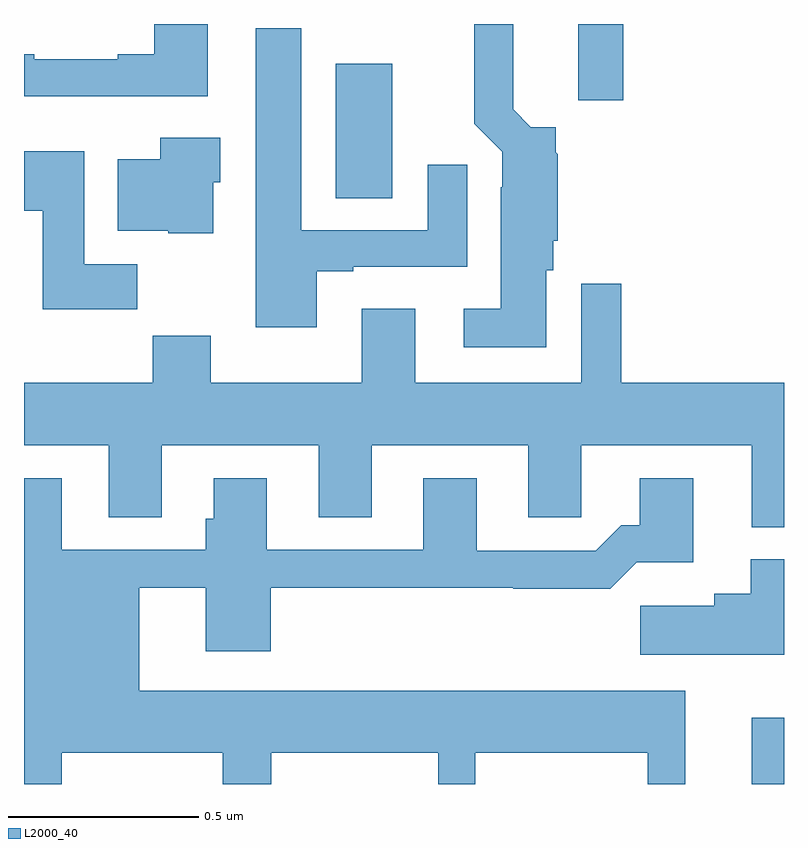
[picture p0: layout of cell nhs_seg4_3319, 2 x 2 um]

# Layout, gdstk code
import gdstk
lib = gdstk.Library(unit=1e-6, precision=1e-09)
def R(c, l, rs):  # rectangles x0, y0, x1, y1
    for r in rs: c.add(gdstk.rectangle(r[:2], r[2:], *l))
def P(c, l, *ps):  # polygons
    for p in ps: c.add(gdstk.Polygon(p, *l))
L2000_40 = (2000, 40)

nhs_seg4_3319 = lib.new_cell('nhs_seg4_3319')
R(nhs_seg4_3319, L2000_40, [(152.915,823.9,153,824.074), (151.82,825.442,151.969,825.796), (152.459,825.699,152.577,825.9)])
P(nhs_seg4_3319, L2000_40, [(151.483,825.9),(151.343,825.9),(151.343,825.82),(151.247,825.82),(151.247,825.807),(151.027,825.807),(151.027,825.82),(151,825.82),(151,825.71),(151.483,825.71)],
  [(152.374,825.252),(152.393,825.252),(152.393,825.33),(152.405,825.33),(152.405,825.557),(152.399,825.563),(152.399,825.628),(152.334,825.628),(152.287,825.676),(152.287,825.9),(152.185,825.9),(152.185,825.638),(152.259,825.564),(152.259,825.47),(152.255,825.47),(152.255,825.151),(152.157,825.151),(152.157,825.05),(152.374,825.05)],
  [(151.771,825.249),(151.867,825.249),(151.867,825.261),(152.167,825.261),(152.167,825.529),(152.063,825.529),(152.063,825.357),(151.729,825.357),(151.729,825.889),(151.61,825.889),(151.61,825.102),(151.771,825.102)],
  [(151.498,825.483),(151.516,825.483),(151.516,825.601),(151.358,825.601),(151.358,825.544),(151.247,825.544),(151.247,825.356),(151.38,825.356),(151.38,825.35),(151.498,825.35)],
  [(151.298,825.268),(151.159,825.268),(151.159,825.565),(151,825.565),(151,825.409),(151.049,825.409),(151.049,825.15),(151.298,825.15)],
  [(153,824.956),(152.572,824.956),(152.572,825.217),(152.466,825.217),(152.466,824.956),(152.029,824.956),(152.029,825.151),(151.889,825.151),(151.889,824.956),(151.491,824.956),(151.491,825.08),(151.339,825.08),(151.339,824.956),(151,824.956),(151,824.792),(151.223,824.792),(151.223,824.602),(151.363,824.602),(151.363,824.792),(151.775,824.792),(151.775,824.602),(151.915,824.602),(151.915,824.792),(152.327,824.792),(152.327,824.602),(152.466,824.602),(152.466,824.792),(152.915,824.792),(152.915,824.576),(153,824.576)],
  [(151.099,823.982),(151.523,823.982),(151.523,823.9),(151.651,823.9),(151.651,823.982),(152.09,823.982),(152.09,823.9),(152.188,823.9),(152.188,823.982),(152.642,823.982),(152.642,823.9),(152.74,823.9),(152.74,824.146),(151.303,824.146),(151.303,824.416),(151.478,824.416),(151.478,824.25),(151.649,824.25),(151.649,824.416),(152.287,824.416),(152.287,824.414),(152.543,824.414),(152.612,824.483),(152.761,824.483),(152.761,824.704),(152.621,824.704),(152.621,824.581),(152.572,824.581),(152.505,824.514),(152.191,824.514),(152.191,824.704),(152.051,824.704),(152.051,824.517),(151.639,824.517),(151.639,824.704),(151.499,824.704),(151.499,824.598),(151.478,824.598),(151.478,824.517),(151.099,824.517),(151.099,824.704),(151,824.704),(151,823.9),(151.099,823.9)],
  [(153,824.491),(152.912,824.491),(152.912,824.401),(152.816,824.401),(152.816,824.369),(152.622,824.369),(152.622,824.24),(153,824.24)])

lib.write_gds('nhs_seg4_3319.gds')
